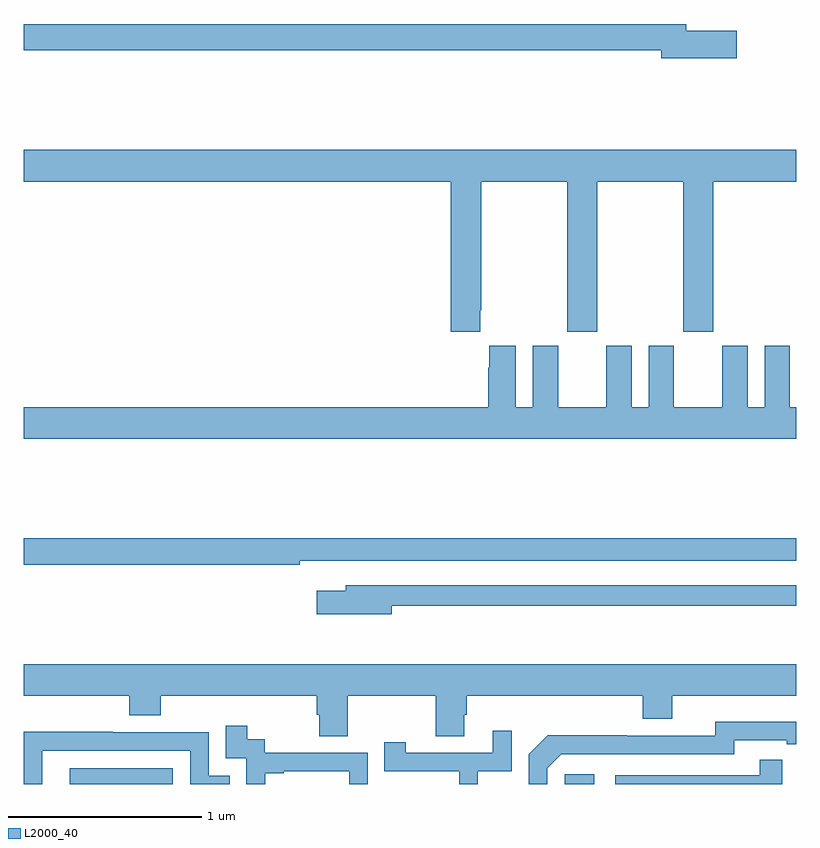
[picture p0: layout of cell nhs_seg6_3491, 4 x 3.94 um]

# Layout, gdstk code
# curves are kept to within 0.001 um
import gdstk
lib = gdstk.Library(unit=1e-6, precision=1e-09)
def R(c, l, rs):  # rectangles x0, y0, x1, y1
    for r in rs: c.add(gdstk.rectangle(r[:2], r[2:], *l))
def P(c, l, *ps):  # polygons
    for p in ps: c.add(gdstk.Polygon(p, *l))
L2000_40 = (2000, 40)

nhs_seg6_3491 = lib.new_cell('nhs_seg6_3491')
R(nhs_seg6_3491, L2000_40, [(315.237,993.5,315.771,993.582), (317.802,993.5,317.953,993.55)])
P(nhs_seg6_3491, L2000_40, [(318.691,997.4),(318.43,997.4),(318.43,997.436),(315,997.436),(315,997.3),(318.302,997.3),(318.302,997.258),(318.691,997.258)],
  [(317.365,995.953),(317.37,995.953),(317.37,996.62),(317.815,996.62),(317.815,995.841),(317.97,995.841),(317.97,996.62),(318.415,996.62),(318.415,995.841),(318.57,995.841),(318.57,996.62),(319,996.62),(319,996.784),(315,996.784),(315,996.62),(317.21,996.62),(317.21,995.841),(317.365,995.841)],
  [(319,995.452),(318.967,995.452),(318.967,995.77),(318.836,995.77),(318.836,995.452),(318.748,995.452),(318.748,995.77),(318.617,995.77),(318.617,995.452),(318.367,995.452),(318.367,995.77),(318.236,995.77),(318.236,995.452),(318.148,995.452),(318.148,995.77),(318.017,995.77),(318.017,995.452),(317.767,995.452),(317.767,995.77),(317.636,995.77),(317.636,995.452),(317.548,995.452),(317.548,995.77),(317.411,995.77),(317.411,995.657),(317.405,995.657),(317.405,995.452),(315,995.452),(315,995.288),(319,995.288)],
  [(316.43,994.656),(319,994.656),(319,994.772),(315,994.772),(315,994.636),(316.43,994.636)],
  [(316.906,994.422),(319,994.422),(319,994.53),(316.667,994.53),(316.667,994.501),(316.518,994.501),(316.518,994.379),(316.906,994.379)],
  [(316.677,993.956),(317.134,993.956),(317.134,993.748),(317.281,993.748),(317.281,993.858),(317.294,993.858),(317.294,993.956),(318.206,993.956),(318.206,993.839),(318.358,993.839),(318.358,993.956),(319,993.956),(319,994.12),(315,994.12),(315,993.956),(315.545,993.956),(315.545,993.857),(315.71,993.857),(315.71,993.956),(316.517,993.956),(316.517,993.858),(316.529,993.858),(316.529,993.748),(316.677,993.748)],
  [(317.712,993.582),(317.784,993.654),(318.678,993.654),(318.678,993.726),(318.95,993.726),(318.95,993.706),(319,993.706),(319,993.822),(318.582,993.823),(318.582,993.75),(318.122,993.75),(318.122,993.752),(317.714,993.752),(317.616,993.654),(317.616,993.5),(317.712,993.5)],
  [(316.25,993.555),(316.345,993.555),(316.345,993.567),(316.686,993.567),(316.686,993.5),(316.782,993.5),(316.782,993.663),(316.248,993.663),(316.248,993.732),(316.156,993.732),(316.156,993.802),(316.047,993.802),(316.047,993.633),(316.152,993.633),(316.152,993.5),(316.25,993.5)],
  [(317.352,993.567),(317.526,993.567),(317.526,993.775),(317.429,993.775),(317.429,993.663),(316.978,993.663),(316.978,993.715),(316.867,993.715),(316.867,993.567),(317.256,993.567),(317.256,993.5),(317.352,993.5)],
  [(315.096,993.672),(315.861,993.672),(315.861,993.5),(316.067,993.5),(316.067,993.543),(315.957,993.543),(315.957,993.768),(315.461,993.768),(315.461,993.77),(315,993.77),(315,993.5),(315.096,993.5)],
  [(318.929,993.625),(318.811,993.625),(318.811,993.546),(318.063,993.546),(318.063,993.5),(318.929,993.5)])

lib.write_gds('nhs_seg6_3491.gds')
